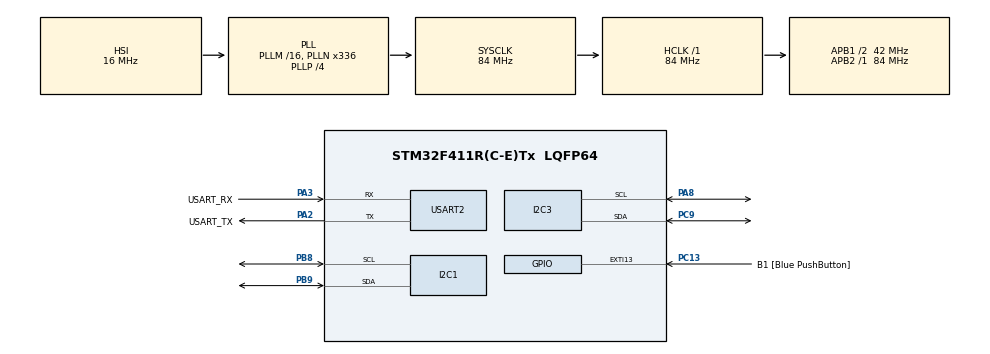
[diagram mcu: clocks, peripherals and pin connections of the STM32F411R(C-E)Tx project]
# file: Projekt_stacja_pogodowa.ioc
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FREERTOS.Tasks01=defaultTask,24,128,StartDefaultTask,Default,NULL,Dynamic,NULL,NULL;BME280_Task,24,256,StartTask02,Default,NULL,Dynamic,NULL,NULL;Display_Task,16,384,StartTask03,Default,NULL,Dynamic,NULL,NULL;UART_Task,8,256,StartTask04,Default,NULL,Dynamic,NULL,NULL
I2C1.I2C_Mode=I2C_Standard
Mcu.Family=STM32F4
Mcu.Name=STM32F411R(C-E)Tx
Mcu.Package=LQFP64
NVIC.EXTI15_10_IRQn=true\:5\:0\:false\:false\:true\:true\:true\:true\:true
NVIC.PriorityGroup=NVIC_PRIORITYGROUP_4
PA14.GPIO_Label=TCK
PA14.Signal=SYS_JTCK-SWCLK
PA2.GPIO_Label=USART_TX
PA2.Mode=Asynchronous
PA2.Signal=USART2_TX
PA3.GPIO_Label=USART_RX
PA3.Mode=Asynchronous
PA3.Signal=USART2_RX
PA8.GPIO_Pu=GPIO_PULLUP
PA8.Mode=I2C
PA8.Signal=I2C3_SCL
PB8.GPIO_Pu=GPIO_PULLUP
PB8.Mode=I2C
PB8.Signal=I2C1_SCL
PB9.GPIO_Pu=GPIO_PULLUP
PB9.Mode=I2C
PB9.Signal=I2C1_SDA
PC13-ANTI_TAMP.GPIO_Label=B1 [Blue PushButton]
PC13-ANTI_TAMP.GPIO_ModeDefaultEXTI=GPIO_MODE_IT_FALLING
PC13-ANTI_TAMP.GPIO_PuPd=GPIO_PULLUP
PC13-ANTI_TAMP.Signal=GPXTI13
PC14-OSC32_IN.Mode=LSE-External-Oscillator
PC14-OSC32_IN.Signal=RCC_OSC32_IN
PC15-OSC32_OUT.Mode=LSE-External-Oscillator
PC15-OSC32_OUT.Signal=RCC_OSC32_OUT
PC9.GPIO_Pu=GPIO_PULLUP
PC9.Mode=I2C
PC9.Signal=I2C3_SDA
PH0\ -\ OSC_IN.Mode=HSE-External-Clock-Source
PH0\ -\ OSC_IN.Signal=RCC_OSC_IN
PH1\ -\ OSC_OUT.Mode=HSE-External-Clock-Source
PH1\ -\ OSC_OUT.Signal=RCC_OSC_OUT
ProjectManager.HeapSize=0x200
ProjectManager.StackSize=0x400
ProjectManager.TargetToolchain=STM32CubeIDE
RCC.48MHZClocksFreq_Value=84000000
RCC.AHBFreq_Value=84000000
RCC.APB1CLKDivider=RCC_HCLK_DIV2
RCC.APB1Freq_Value=42000000
RCC.APB1TimFreq_Value=84000000
RCC.APB2Freq_Value=84000000
RCC.APB2TimFreq_Value=84000000
RCC.CortexFreq_Value=84000000
RCC.FLatency-AdvancedSettings=FLASH_LATENCY_2
RCC.HCLKFreq_Value=84000000
RCC.HSE_VALUE=8000000
RCC.HSI_VALUE=16000000
RCC.PLLN=336
RCC.PLLP=RCC_PLLP_DIV4
RCC.SYSCLKFreq_VALUE=84000000
RCC.SYSCLKSource=RCC_SYSCLKSOURCE_PLLCLK
RCC.VCOOutputFreq_Value=336000000
USART2.VirtualMode=VM_ASYNC
VP_FREERTOS_VS_CMSIS_V2.Mode=CMSIS_V2
board=NUCLEO-F411RE

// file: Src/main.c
/* USER CODE BEGIN Header */
/**
  ******************************************************************************
  * @file           : main.c
  * @brief          : Main program body
  ******************************************************************************
  * @attention
  *
  * Copyright (c) 2025 STMicroelectronics.
  * All rights reserved.
  *
  * This software is licensed under terms that can be found in the LICENSE file
  * in the root directory of this software component.
  * If no LICENSE file comes with this software, it is provided AS-IS.
  *
  ******************************************************************************
  */
/* USER CODE END Header */
#include "main.h"
#include "cmsis_os.h"

/* USER CODE BEGIN Includes */
#include <stdio.h>
#include <string.h>
#include <stdarg.h>
#include "ssd1306.h"
#include "ssd1306_fonts.h"
#include "bme280.h"
/* USER CODE END Includes */

/* USER CODE BEGIN PD */
#define BME280_ADDR 0x76 // lub 0x77 zależnie od konfiguracji czujnika
/* USER CODE END PD */

I2C_HandleTypeDef hi2c1;
I2C_HandleTypeDef hi2c3;

UART_HandleTypeDef huart2;

/* Definitions for defaultTask */
osThreadId_t defaultTaskHandle;
const osThreadAttr_t defaultTask_attributes = {
  .name = "defaultTask",
  .stack_size = 128 * 4,
  .priority = (osPriority_t) osPriorityNormal,
};
/* Definitions for BME280_Task */
osThreadId_t BME280_TaskHandle;
const osThreadAttr_t BME280_Task_attributes = {
  .name = "BME280_Task",
  .stack_size = 256 * 4,
  .priority = (osPriority_t) osPriorityNormal,
};
/* Definitions for Display_Task */
osThreadId_t Display_TaskHandle;
const osThreadAttr_t Display_Task_attributes = {
  .name = "Display_Task",
  .stack_size = 384 * 4,
  .priority = (osPriority_t) osPriorityBelowNormal,
};
/* Definitions for UART_Task */
osThreadId_t UART_TaskHandle;
const osThreadAttr_t UART_Task_attributes = {
  .name = "UART_Task",
  .stack_size = 256 * 4,
  .priority = (osPriority_t) osPriorityLow,
};
/* USER CODE BEGIN PV */
struct bme280_dev dev;
uint8_t dev_addr = BME280_ADDR;

// Dodatkowa struktura dla ustawień BME280
struct bme280_settings sensor_settings;
/* USER CODE END PV */

void SystemClock_Config(void);
static void MX_GPIO_Init(void);
static void MX_USART2_UART_Init(void);
static void MX_I2C1_Init(void);
static void MX_I2C3_Init(void);
void StartDefaultTask(void *argument);
void StartTask02(void *argument);
void StartTask03(void *argument);
void StartTask04(void *argument);

/* USER CODE BEGIN PFP */
void BME280_ReadValues(float* temperature, float* humidity, float* pressure);
/* USER CODE END PFP */

/* USER CODE BEGIN 0 */

// Funkcje opakowujące HAL dla BME280
int8_t user_i2c_read(uint8_t reg_addr, uint8_t *data, uint32_t len, void *intf_ptr) {
    uint8_t dev_addr = *(uint8_t*)intf_ptr;
    return (HAL_I2C_Mem_Read(&hi2c1, dev_addr << 1, reg_addr,
                             I2C_MEMADD_SIZE_8BIT, data, len, HAL_MAX_DELAY) == HAL_OK) ? 0 : -1;
}

int8_t user_i2c_write(uint8_t reg_addr, const uint8_t *data, uint32_t len, void *intf_ptr) {
    uint8_t dev_addr = *(uint8_t*)intf_ptr;
    return (HAL_I2C_Mem_Write(&hi2c1, dev_addr << 1, reg_addr,
                              I2C_MEMADD_SIZE_8BIT, (uint8_t*)data, len, HAL_MAX_DELAY) == HAL_OK) ? 0 : -1;
}

// Funkcja opóźnienia dla BME280
void user_delay_us(uint32_t period, void *intf_ptr) {
    HAL_Delay(period / 1000 + 1); // Konwersja us -> ms z zaokrągleniem w górę
}

// Funkcja odczytu temperatury, wilgotności i ciśnienia z BME280
void BME280_ReadValues(float* temperature, float* humidity, float* pressure) {
    struct bme280_data data;
    int8_t rslt = bme280_get_sensor_data(BME280_ALL, &data, &dev);
    if (rslt == BME280_OK) {
        *temperature = data.temperature;
        *humidity = data.humidity;
        *pressure = data.pressure / 100.0f;  // Pa -> hPa
    }else {
        // W przypadku błędu odczytu, ustawiamy wartości domyślne
        *temperature = 0.0f;
        *humidity = 0.0f;
        *pressure = 0.0f;

        // Wyświetl kod błędu - do debugowania
        char error_msg[32];
        sprintf(error_msg, "BME280 Error: %d", rslt);
        ssd1306_Fill(Black);
        ssd1306_SetCursor(0, 0);
        ssd1306_WriteString(error_msg, Font_7x10, White);
        ssd1306_UpdateScreen();
        HAL_Delay(1000);
    }
}

void Debug_Printf(const char* format, ...) {
    char buffer[128];
    va_list args;
    va_start(args, format);
    vsprintf(buffer, format, args);
    va_end(args);
    HAL_UART_Transmit(&huart2, (uint8_t*)buffer, strlen(buffer), 100);
}

void I2C_scan(void)
{
  uint8_t devices_found = 0;
  for (uint8_t i = 1; i < 128; i++)  // Przeszukiwanie możliwych adresów I2C
  {
    if (HAL_I2C_IsDeviceReady(&hi2c3, i << 1, 3, 10) == HAL_OK)
    {
      printf("Found device at address: 0x%02X\n", i);
      devices_found++;
    }
  }
  if (devices_found == 0)
  {
    printf("No devices found on I2C bus\n");
  }
}

// przerwania
void ssd1306_InvertDisplay(uint8_t invert) {
    ssd1306_WriteCommand(invert ? 0xA7 : 0xA6);
}

static uint8_t inverted = 0;

void HAL_GPIO_EXTI_Callback(uint16_t GPIO_Pin) {
    if (GPIO_Pin == GPIO_PIN_13) {
        inverted = !inverted;
        ssd1306_InvertDisplay(inverted);  // 1 = tło białe, 0 = normalne
    }
}
/* USER CODE END 0 */

int main(void)
{

  /* MCU Configuration--------------------------------------------------------*/

  /* Reset of all peripherals, Initializes the Flash interface and the Systick. */
  HAL_Init();

  /* Configure the system clock */
  SystemClock_Config();

  /* Initialize all configured peripherals */
  MX_GPIO_Init();
  MX_USART2_UART_Init();
  MX_I2C1_Init();
  MX_I2C3_Init();
  /* USER CODE BEGIN 2 */

  Debug_Printf("System initialized\r\n");
  // Inicjalizacja OLED
  ssd1306_Init();
  //I2C_scan();
  //ssd1306_Clear();
  ssd1306_SetCursor(0, 0);
  ssd1306_Fill(Black);
  ssd1306_WriteString("Hello", Font_7x10, White);

  ssd1306_SetCursor(5, 0);
  ssd1306_WriteString("OLED Test", Font_7x10, White);
  ssd1306_SetCursor(5, 15);
  ssd1306_WriteString("Line 2", Font_7x10, White);
  ssd1306_SetCursor(5, 30);
  ssd1306_WriteString("Line 3", Font_7x10, White);
  ssd1306_UpdateScreen();
  HAL_Delay(2000);
  //ssd1306_SetCursor(0, 0);
  //ssd1306_WriteString("BME280 Init!", Font_7x10, White);
  ssd1306_Fill(Black);
  ssd1306_UpdateScreen();

  // Inicjalizacja BME280
  int8_t rslt;

  // Konfiguracja interfejsu komunikacyjnego
  dev.intf_ptr = &dev_addr;
  dev.intf = BME280_I2C_INTF;
  dev.read = user_i2c_read;
  dev.write = user_i2c_write;
  dev.delay_us = user_delay_us;

  // Daj czas na stabilizację po włączeniu zasilania
  HAL_Delay(100);

  // Sprawdź czy można nawiązać komunikację z czujnikiem przed inicjalizacją
  uint8_t chip_id = 0;
  if (HAL_I2C_Mem_Read(&hi2c1, (BME280_ADDR << 1), 0xD0, I2C_MEMADD_SIZE_8BIT, &chip_id, 1, HAL_MAX_DELAY) != HAL_OK) {
      ssd1306_SetCursor(5, 10);
      ssd1306_WriteString("I2C comm error!", Font_7x10, White);
      ssd1306_UpdateScreen();
      HAL_Delay(2000);
  } else {
      // Wyświetl ID czujnika, powinno być 0x60 dla BME280
      char id_msg[32];
      sprintf(id_msg, "Chip ID: 0x%02X", chip_id);
      ssd1306_SetCursor(5, 10);
      ssd1306_WriteString(id_msg, Font_7x10, White);
      ssd1306_UpdateScreen();
      HAL_Delay(1000);
  }

  rslt = bme280_init(&dev);
  if (rslt != BME280_OK) {
      // Error handling
      char error_msg[32];
      sprintf(error_msg, "BME280 init err: %d", rslt);
      ssd1306_SetCursor(5, 20);
      ssd1306_WriteString(error_msg, Font_7x10, White);
      ssd1306_UpdateScreen();
      HAL_Delay(2000);
  } else {
      ssd1306_SetCursor(5, 20);
      ssd1306_WriteString("BME280 OK!", Font_7x10, White);
      ssd1306_UpdateScreen();
      HAL_Delay(1000);
  }

  // Konfiguracja trybu pomiaru
  HAL_Delay(100); // Daj czujnikowi czas po inicjalizacji

  // Wyświetl komunikat o konfiguracji
  ssd1306_Fill(Black);
  ssd1306_SetCursor(5, 10);
  ssd1306_WriteString("Config BME280...", Font_7x10, White);
  ssd1306_UpdateScreen();

  // Konfiguracja ustawień czujnika
  sensor_settings.osr_h = BME280_OVERSAMPLING_1X;
  sensor_settings.osr_p = BME280_OVERSAMPLING_16X;
  sensor_settings.osr_t = BME280_OVERSAMPLING_2X;
  sensor_settings.filter = BME280_FILTER_COEFF_16;
  sensor_settings.standby_time = BME280_STANDBY_TIME_62_5_MS;

  // Ustawienie konfiguracji czujnika
  rslt = bme280_set_sensor_settings(BME280_SEL_ALL_SETTINGS, &sensor_settings, &dev);
  if (rslt != BME280_OK) {
        char error_msg[32];
        sprintf(error_msg, "Settings err: %d", rslt);
        ssd1306_SetCursor(5, 10);
        ssd1306_WriteString(error_msg, Font_7x10, White);
        ssd1306_UpdateScreen();
        HAL_Delay(2000);
  } else {
        ssd1306_SetCursor(5, 10);
        ssd1306_WriteString("Settings OK!", Font_7x10, White);
        ssd1306_UpdateScreen();
  }

  // Ustawienie trybu pracy czujnika
  HAL_Delay(100);
  rslt = bme280_set_sensor_mode(BME280_POWERMODE_NORMAL, &dev);
  if (rslt != BME280_OK) {
      char error_msg[32];
      sprintf(error_msg, "Mode err: %d", rslt);
      ssd1306_SetCursor(5, 20);
      ssd1306_WriteString(error_msg, Font_7x10, White);
      ssd1306_UpdateScreen();
      HAL_Delay(2000);
  } else {
      ssd1306_SetCursor(5, 20);
      ssd1306_WriteString("Mode OK!", Font_7x10, White);
      ssd1306_UpdateScreen();
  }

  // Odczekaj czas potrzebny na pierwszą konwersję
  HAL_Delay(500);
  /* USER CODE END 2 */

  /* Init scheduler */
  osKernelInitialize();
  MX_FREERTOS_Init();

  /* Create the thread(s) */

  /* Start scheduler */
  osKernelStart();

  /* We should never get here as control is now taken by the scheduler */

  /* Infinite loop */
  /* USER CODE BEGIN WHILE */
  float temperature, humidity, pressure;
  char buffer[32];

  while (1)
  {

    /* USER CODE END WHILE */

  }
}

void SystemClock_Config(void)
{
  RCC_OscInitTypeDef RCC_OscInitStruct = {0};
  RCC_ClkInitTypeDef RCC_ClkInitStruct = {0};

  /** Configure the main internal regulator output voltage
  */
  __HAL_RCC_PWR_CLK_ENABLE();
  __HAL_PWR_VOLTAGESCALING_CONFIG(PWR_REGULATOR_VOLTAGE_SCALE1);

  /** Initializes the RCC Oscillators according to the specified parameters
  * in the RCC_OscInitTypeDef structure.
  */
  RCC_OscInitStruct.OscillatorType = RCC_OSCILLATORTYPE_HSI;
  RCC_OscInitStruct.HSIState = RCC_HSI_ON;
  RCC_OscInitStruct.HSICalibrationValue = RCC_HSICALIBRATION_DEFAULT;
  RCC_OscInitStruct.PLL.PLLState = RCC_PLL_ON;
  RCC_OscInitStruct.PLL.PLLSource = RCC_PLLSOURCE_HSI;
  RCC_OscInitStruct.PLL.PLLM = 16;
  RCC_OscInitStruct.PLL.PLLN = 336;
  RCC_OscInitStruct.PLL.PLLP = RCC_PLLP_DIV4;
  RCC_OscInitStruct.PLL.PLLQ = 4;
  if (HAL_RCC_OscConfig(&RCC_OscInitStruct) != HAL_OK)
  {
    Error_Handler();
  }

  /** Initializes the CPU, AHB and APB buses clocks
  */
  RCC_ClkInitStruct.ClockType = RCC_CLOCKTYPE_HCLK|RCC_CLOCKTYPE_SYSCLK
                              |RCC_CLOCKTYPE_PCLK1|RCC_CLOCKTYPE_PCLK2;
  RCC_ClkInitStruct.SYSCLKSource = RCC_SYSCLKSOURCE_PLLCLK;
  RCC_ClkInitStruct.AHBCLKDivider = RCC_SYSCLK_DIV1;
  RCC_ClkInitStruct.APB1CLKDivider = RCC_HCLK_DIV2;
  RCC_ClkInitStruct.APB2CLKDivider = RCC_HCLK_DIV1;

  if (HAL_RCC_ClockConfig(&RCC_ClkInitStruct, FLASH_LATENCY_2) != HAL_OK)
  {
    Error_Handler();
  }
}

static void MX_I2C1_Init(void)
{

  hi2c1.Instance = I2C1;
  hi2c1.Init.ClockSpeed = 100000;
  hi2c1.Init.DutyCycle = I2C_DUTYCYCLE_2;
  hi2c1.Init.OwnAddress1 = 0;
  hi2c1.Init.AddressingMode = I2C_ADDRESSINGMODE_7BIT;
  hi2c1.Init.DualAddressMode = I2C_DUALADDRESS_DISABLE;
  hi2c1.Init.OwnAddress2 = 0;
  hi2c1.Init.GeneralCallMode = I2C_GENERALCALL_DISABLE;
  hi2c1.Init.NoStretchMode = I2C_NOSTRETCH_DISABLE;
  if (HAL_I2C_Init(&hi2c1) != HAL_OK)
  {
    Error_Handler();
  }

}

static void MX_I2C3_Init(void)
{

  hi2c3.Instance = I2C3;
  hi2c3.Init.ClockSpeed = 100000;
  hi2c3.Init.DutyCycle = I2C_DUTYCYCLE_2;
  hi2c3.Init.OwnAddress1 = 0;
  hi2c3.Init.AddressingMode = I2C_ADDRESSINGMODE_7BIT;
  hi2c3.Init.DualAddressMode = I2C_DUALADDRESS_DISABLE;
  hi2c3.Init.OwnAddress2 = 0;
  hi2c3.Init.GeneralCallMode = I2C_GENERALCALL_DISABLE;
  hi2c3.Init.NoStretchMode = I2C_NOSTRETCH_DISABLE;
  if (HAL_I2C_Init(&hi2c3) != HAL_OK)
  {
    Error_Handler();
  }

}

static void MX_USART2_UART_Init(void)
{

  huart2.Instance = USART2;
  huart2.Init.BaudRate = 115200;
  huart2.Init.WordLength = UART_WORDLENGTH_8B;
  huart2.Init.StopBits = UART_STOPBITS_1;
  huart2.Init.Parity = UART_PARITY_NONE;
  huart2.Init.Mode = UART_MODE_TX_RX;
  huart2.Init.HwFlowCtl = UART_HWCONTROL_NONE;
  huart2.Init.OverSampling = UART_OVERSAMPLING_16;
  if (HAL_UART_Init(&huart2) != HAL_OK)
  {
    Error_Handler();
  }

}

static void MX_GPIO_Init(void)
{
  GPIO_InitTypeDef GPIO_InitStruct = {0};

  /* GPIO Ports Clock Enable */
  __HAL_RCC_GPIOC_CLK_ENABLE();
  __HAL_RCC_GPIOH_CLK_ENABLE();
  __HAL_RCC_GPIOA_CLK_ENABLE();
  __HAL_RCC_GPIOB_CLK_ENABLE();

  /*Configure GPIO pin : B1_Pin */
  GPIO_InitStruct.Pin = B1_Pin;
  GPIO_InitStruct.Mode = GPIO_MODE_IT_FALLING;
  GPIO_InitStruct.Pull = GPIO_PULLUP;
  HAL_GPIO_Init(B1_GPIO_Port, &GPIO_InitStruct);

  /* EXTI interrupt init*/
  HAL_NVIC_SetPriority(EXTI15_10_IRQn, 5, 0);
  HAL_NVIC_EnableIRQ(EXTI15_10_IRQn);

}

void StartDefaultTask(void *argument)
{
  for(;;)
  {
    osDelay(1);
  }
}

void StartTask02(void *argument)
{
  for(;;)
  {
    osDelay(1);
  }
}

void StartTask03(void *argument)
{
  for(;;)
  {
    osDelay(1);
  }
}

void StartTask04(void *argument)
{
  for(;;)
  {
    osDelay(1);
  }
}

void Error_Handler(void)
{
  __disable_irq();
  while (1)
  {
  }
}

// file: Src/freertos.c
/* USER CODE BEGIN Header */
/**
  ******************************************************************************
  * File Name          : freertos.c
  * Description        : Code for freertos applications
  ******************************************************************************
  * @attention
  *
  * Copyright (c) 2025 STMicroelectronics.
  * All rights reserved.
  *
  * This software is licensed under terms that can be found in the LICENSE file
  * in the root directory of this software component.
  * If no LICENSE file comes with this software, it is provided AS-IS.
  *
  ******************************************************************************
  */
/* USER CODE END Header */

#include "FreeRTOS.h"
#include "task.h"
#include "queue.h"
#include "main.h"
#include "cmsis_os.h"
#include "ssd1306.h"
#include <stdio.h>

/* USER CODE BEGIN Includes */
#include "ssd1306_fonts.h"
#include "FreeRTOSConfig.h"
/* USER CODE END Includes */

typedef struct {
    float temperature;
    float humidity;
    float pressure;
} SensorData_t;

osThreadId_t BME280TaskHandle;
osThreadId_t DisplayTaskHandle;
osThreadId_t UARTTaskHandle;

QueueHandle_t sensorDataQueue;

void StartBME280_Task(void *argument);
void StartDisplay_Task(void *argument);
void StartUART_Task(void *argument);

/* USER CODE BEGIN FunctionPrototypes */
extern void BME280_ReadValues(float* temperature, float* humidity, float* pressure);
extern void Debug_Printf(const char* format, ...);
/* USER CODE END FunctionPrototypes */

void MX_FREERTOS_Init(void) {

    /* Create the queue */
    sensorDataQueue = xQueueCreate(5, sizeof(SensorData_t));
    if (sensorDataQueue == NULL) {
        Error_Handler();
    }

    /* Create the thread(s) */
    const osThreadAttr_t bme280Task_attributes = {
        .name = "BME280_Task",
        .priority = (osPriority_t) osPriorityNormal,
        .stack_size = 256 * 4
    };
    BME280TaskHandle = osThreadNew(StartBME280_Task, NULL, &bme280Task_attributes);

    const osThreadAttr_t displayTask_attributes = {
        .name = "Display_Task",
        .priority = (osPriority_t) osPriorityBelowNormal,
        .stack_size = 384 * 4
    };
    DisplayTaskHandle = osThreadNew(StartDisplay_Task, NULL, &displayTask_attributes);

    const osThreadAttr_t uartTask_attributes = {
        .name = "UART_Task",
        .priority = (osPriority_t) osPriorityLow,
        .stack_size = 256 * 4
    };
    UARTTaskHandle = osThreadNew(StartUART_Task, NULL, &uartTask_attributes);
}

/* Task Definitions */
void StartBME280_Task(void *argument) {
    float temp, hum, press;
    SensorData_t data;
    for (;;) {
        BME280_ReadValues(&temp, &hum, &press);
        data.temperature = temp;
        data.humidity = hum;
        data.pressure = press;
        xQueueSend(sensorDataQueue, &data, portMAX_DELAY);
        vTaskDelay(pdMS_TO_TICKS(2000));
    }
}

void StartDisplay_Task(void *argument) {
    SensorData_t data;
    char buffer[32];
    for (;;) {
        if (xQueueReceive(sensorDataQueue, &data, portMAX_DELAY) == pdPASS) {
            ssd1306_Fill(Black);
            ssd1306_SetCursor(0, 0);

            sprintf(buffer, "Temp: %.1f C", data.temperature);
            ssd1306_WriteString(buffer, Font_7x10, White);
            ssd1306_SetCursor(0, 12);

            sprintf(buffer, "Hum: %.1f %%", data.humidity);
            ssd1306_WriteString(buffer, Font_7x10, White);
            ssd1306_SetCursor(0, 24);

            sprintf(buffer, "Pres: %.1f hPa", data.pressure);
            ssd1306_WriteString(buffer, Font_7x10, White);

            ssd1306_UpdateScreen();
        }
    }
}

void StartUART_Task(void *argument) {
    SensorData_t data;
    for (;;) {
        if (xQueuePeek(sensorDataQueue, &data, portMAX_DELAY) == pdPASS) {
            Debug_Printf("T:%.1fC H:%.1f%% P:%.1fhPa\r\n", data.temperature, data.humidity, data.pressure);
        }
        vTaskDelay(pdMS_TO_TICKS(5000));
    }
}
